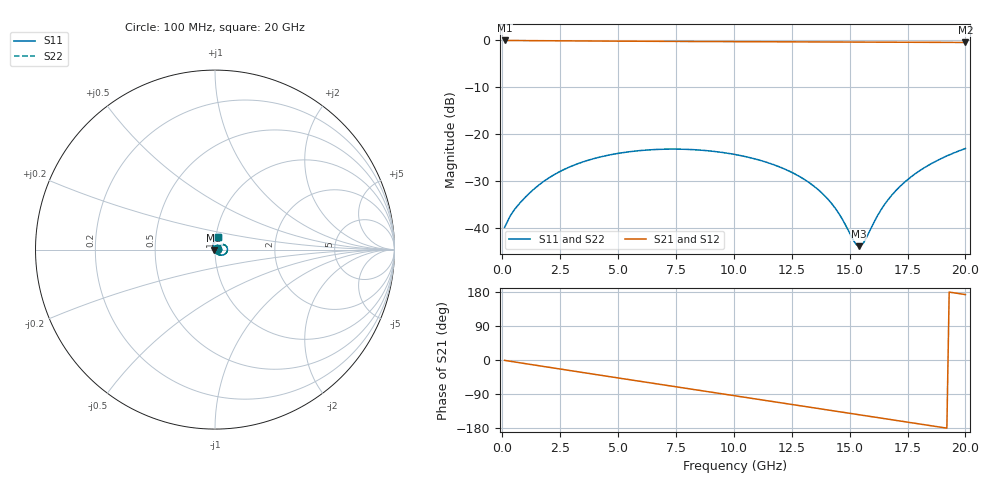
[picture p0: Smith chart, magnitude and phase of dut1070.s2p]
! Touchstone file exported from HFSS 2026.1.0
!  File:  C:/ffzhzh/LocalFiles/Ansys_Project_Files/temp_train_TSV_RDL_1070_1783299224_39728.aedt
!  Generated:  09:02:01 AM Jul  6, 2026
!  Design:  TSV_RDL
!  Project:  temp_train_TSV_RDL_1070_1783299224_39728
! Variables:
!  h_bsmrdl = 5.09um
!  h_ox = 20um
!  h_rdl = 5um
!  h_sub = 96.5um
!  h_tmrdl = 4.4um
!  h_tsv = 96.5um
!  h_via = 3um
!  l_bsmrdl = 477um
!  l_sub = 2471.52um
!  l_tmrdl = 134.78um
!  m_sub = 200um
!  pitch = 31.37um
!  r_tsv = 13.12um
!  s_tmrdl = 10um
!  w_bsmrdl = 17um
!  w_sub = 500um
!  w_tmrdl = 16.8um
!  x_tsv_center1 = 143.18um
!  x_tsv_center2 = 637.18um
!  x_tsv_center3 = 788.76um
!  x_tsv_center4 = 1282.76um
!  x_tsv_center5 = 1434.34um
!  x_tsv_center6 = 1928.34um
# GHz S MA R 50.000000
! Terminal data exported
! Port[1] = TM_RDL1_1_T1
! Port[2] = TM_RDL5_1_T1
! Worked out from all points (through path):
!   200 points, 100 MHz to 20 GHz, reference 50 ohm
!   highest |S21| = -0.09 dB at 100 MHz (marker M1); lowest = -0.5 dB at 20 GHz (marker M2)
!   group delay of S21, straight-line fit = 25.9 ps
!   lowest |S11| = -43.8 dB at 15.4 GHz (marker M3), VSWR 1.01, Z = 49.4 - j0.279 ohm
!   |S11| at or under -10 dB: start of sweep to end of sweep
!   |S22| runs from -43.6 to -23.1 dB; largest |S21 - S12| = 2.1e-14
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0.1  0.01019 13.3  0.9901 -1.0  0.9901 -1.0  0.01019 13.3
! Gamma 0 0 0 0
! Port Impedance 50 0 50 0
0.3  0.01292 27.2  0.9888 -3.0  0.9888 -3.0  0.01292 27.2
0.6  0.01664 35.4  0.9874 -5.8  0.9874 -5.8  0.01664 35.4
1.5  0.02776 43.9  0.985 -14.4  0.985 -14.4  0.02776 43.9
2.4  0.03901 41.7  0.9822 -22.9  0.9822 -22.9  0.03901 41.7
3.5  0.05086 34.3  0.9784 -33.3  0.9784 -33.3  0.05087 34.2
5  0.06244 21.8  0.9734 -47.3  0.9734 -47.3  0.06245 21.8
6.8  0.06896 6.0  0.9684 -64.1  0.9684 -64.1  0.06898 5.9
8.5  0.0678 -9.5  0.9648 -79.8  0.9648 -79.8  0.06782 -9.5
10.1  0.06045 -24.5  0.962 -94.7  0.962 -94.7  0.06049 -24.6
12  0.04457 -43.8  0.9592 -112.4  0.9592 -112.4  0.04462 -44.0
13.4  0.02872 -61.1  0.957 -125.5  0.957 -125.5  0.02878 -61.4
14.3  0.01731 -78.1  0.9555 -133.9  0.9555 -133.9  0.0174 -78.6
14.7  0.01228 -91.5  0.9548 -137.6  0.9548 -137.6  0.01239 -92.1
15.2  0.007194 -128.0  0.9539 -142.3  0.9539 -142.3  0.007362 -128.4
15.4  0.006445 -154.1  0.9535 -144.2  0.9535 -144.2  0.006621 -153.9
15.6  0.007003 178.9  0.9531 -146.1  0.9531 -146.1  0.007155 179.6
16.2  0.01352 135.0  0.9519 -151.7  0.9519 -151.7  0.01358 135.7
16.7  0.02065 120.1  0.9508 -156.4  0.9508 -156.4  0.02069 120.7
17.3  0.02971 109.0  0.9495 -162.0  0.9495 -162.0  0.02972 109.4
18.1  0.042 98.1  0.9476 -169.5  0.9476 -169.5  0.042 98.3
20  0.07034 77.2  0.9427 172.7  0.9427 172.7  0.07033 77.4
